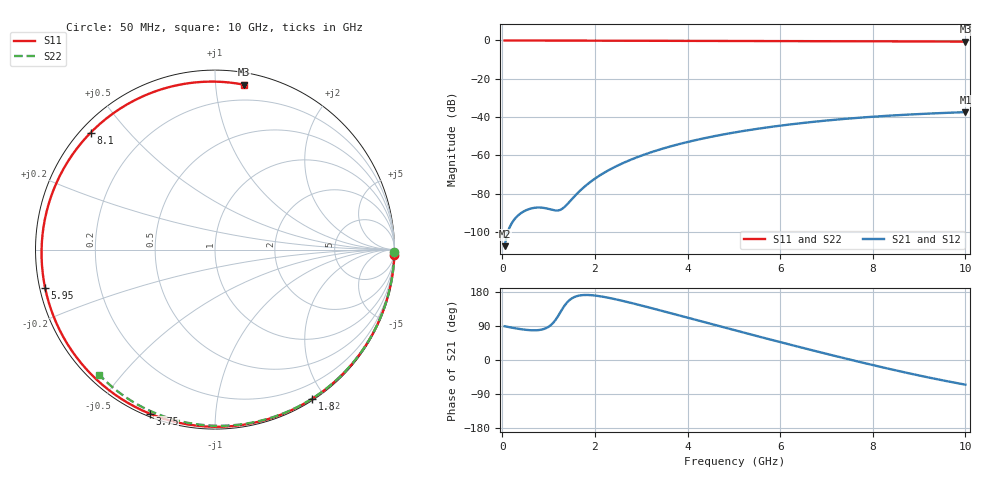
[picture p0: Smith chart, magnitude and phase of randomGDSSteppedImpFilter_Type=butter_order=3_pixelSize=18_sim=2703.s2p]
! freq	dB(S11)	phase(S11)	dB(S12)	phase(S12)
!  dB(S21)	phase(S21)	dB(S22)	phase(S22)
!S-par simulation data
#  GHz  S  DB  R 50
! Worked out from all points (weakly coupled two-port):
!   200 points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, 50 MHz to 10 GHz, reference 50 ohm
!   highest |S21| = -37.42 dB at 10 GHz (marker M1); lowest = -107.5 dB at 50 MHz (marker M2)
!   lowest |S11| = -0.6 dB at 10 GHz (marker M3), VSWR 28.74, Z = 4.2 + j59.3 ohm
!   |S11| at or under -10 dB: nowhere
!   |S22| runs from -0.4 to 0.0 dB; largest |S21 - S12| = 0
!   S11 on the Smith chart (normalised r, x): 50 MHz: 0, -70; 1.8 GHz: 0.02, -1.85; 3.75 GHz: 0.01, -0.68; 5.95 GHz: 0.02, -0.11; 8.1 GHz: 0.03, +0.40; 10 GHz: 0.08, +1.19
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0.05  -0.00 -1.6  -107.45 89.1  -107.45 89.1  -0.00 -0.8
0.4  -0.02 -13.0  -90.24 81.3  -90.24 81.3  -0.01 -6.1
0.8  -0.03 -25.8  -87.26 79.2  -87.26 79.2  -0.02 -12.2
1.6  -0.06 -50.8  -80.37 168.2  -80.37 168.2  -0.03 -24.2
1.75  -0.07 -55.4  -76.91 171.4  -76.91 171.4  -0.03 -26.5
1.8  -0.07 -56.9  -75.87 171.7  -75.87 171.7  -0.03 -27.2
2.1  -0.08 -65.8  -70.58 168.4  -70.58 168.4  -0.04 -31.6
2.45  -0.09 -76.0  -65.83 160.2  -65.83 160.2  -0.05 -36.7
2.9  -0.11 -88.8  -61.10 147.0  -61.10 147.0  -0.06 -43.3
3.4  -0.13 -102.5  -56.97 131.2  -56.97 131.2  -0.07 -50.4
3.75  -0.14 -111.8  -54.57 119.9  -54.57 119.9  -0.07 -55.3
4.35  -0.17 -127.3  -51.13 100.3  -51.13 100.3  -0.09 -63.5
5.05  -0.21 -144.9  -47.91 77.6  -47.91 77.6  -0.11 -72.9
5.95  -0.26 -167.3  -44.67 48.8  -44.67 48.8  -0.15 -84.5
6.7  -0.32 173.8  -42.55 25.5  -42.55 25.5  -0.18 -93.9
7.4  -0.37 155.7  -40.95 4.2  -40.95 4.2  -0.22 -102.4
8.1  -0.44 136.8  -39.68 -16.2  -39.68 -16.2  -0.27 -110.8
8.35  -0.46 129.7  -39.29 -23.3  -39.29 -23.3  -0.29 -113.7
8.8  -0.50 116.8  -38.68 -35.6  -38.68 -35.6  -0.33 -118.9
9.2  -0.53 104.9  -38.21 -46.0  -38.21 -46.0  -0.36 -123.6
9.6  -0.57 92.6  -37.80 -55.9  -37.80 -55.9  -0.40 -128.2
10  -0.60 80.1  -37.42 -65.1  -37.42 -65.1  -0.45 -132.7
